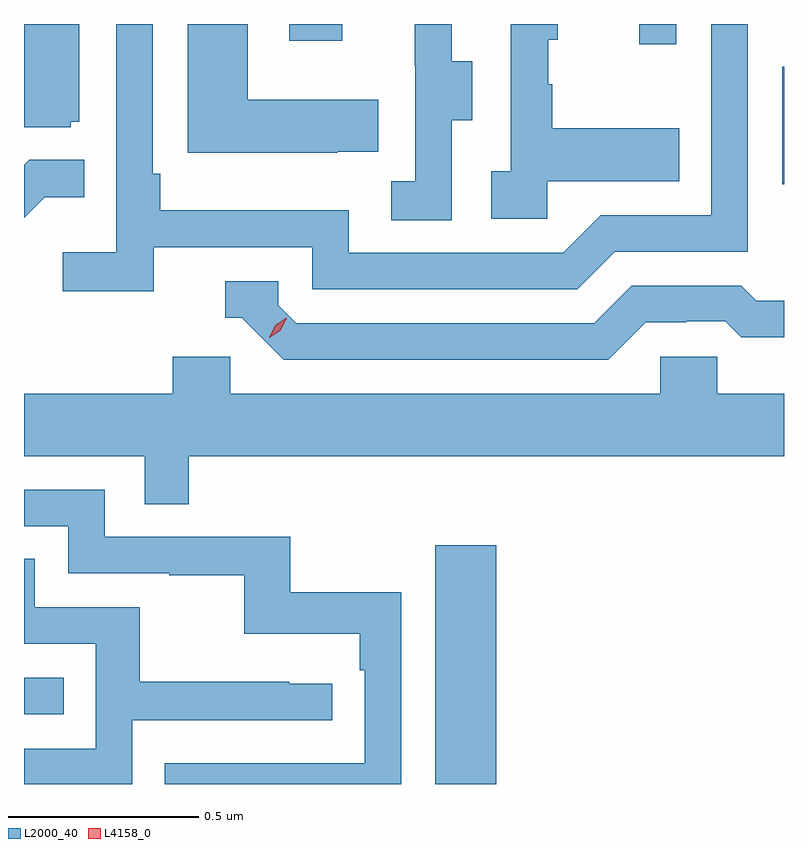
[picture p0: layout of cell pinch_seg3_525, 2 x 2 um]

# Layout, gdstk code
import gdstk
lib = gdstk.Library(unit=1e-6, precision=1e-09)
def R(c, l, rs):  # rectangles x0, y0, x1, y1
    for r in rs: c.add(gdstk.rectangle(r[:2], r[2:], *l))
def P(c, l, *ps):  # polygons
    for p in ps: c.add(gdstk.Polygon(p, *l))
L2000_40 = (2000, 40)
L4158_0 = (4158, 0)

pinch_seg3_525 = lib.new_cell('pinch_seg3_525')
R(pinch_seg3_525, L2000_40, [(959.423,676.077,959.584,676.705), (958.341,676.26,958.445,676.356), (960.336,677.655,960.341,677.964), (959.96,678.024,960.057,678.077), (959.039,678.033,959.179,678.077)])
P(pinch_seg3_525, L2000_40, [(959.718,677.663),(960.065,677.663),(960.065,677.803),(959.731,677.803),(959.731,677.918),(959.721,677.918),(959.721,678.036),(959.746,678.036),(959.746,678.077),(959.622,678.077),(959.622,677.69),(959.571,677.69),(959.571,677.565),(959.718,677.565)],
  [(959.165,677.741),(959.273,677.741),(959.273,677.878),(958.93,677.878),(958.93,678.077),(958.772,678.077),(958.772,677.738),(959.165,677.738)],
  [(958.464,677.82),(958.486,677.82),(958.486,678.077),(958.341,678.077),(958.341,677.805),(958.464,677.805)],
  [(958.682,677.49),(959.1,677.49),(959.1,677.379),(959.797,677.379),(959.896,677.478),(960.246,677.478),(960.246,678.077),(960.15,678.077),(960.15,677.574),(959.859,677.574),(959.76,677.475),(959.196,677.475),(959.196,677.587),(958.7,677.587),(958.7,677.683),(958.68,677.683),(958.68,678.077),(958.584,678.077),(958.584,677.476),(958.443,677.476),(958.443,677.374),(958.682,677.374)],
  [(959.466,677.824),(959.521,677.824),(959.521,677.979),(959.467,677.979),(959.467,678.077),(959.369,678.077),(959.369,677.967),(959.37,677.967),(959.37,677.663),(959.307,677.663),(959.307,677.56),(959.466,677.56)],
  [(958.395,677.621),(958.499,677.621),(958.499,677.72),(958.355,677.72),(958.341,677.706),(958.341,677.567)],
  [(959.977,677.292),(960.084,677.292),(960.084,677.295),(960.187,677.295),(960.229,677.253),(960.341,677.253),(960.341,677.349),(960.268,677.349),(960.229,677.388),(959.94,677.388),(959.841,677.289),(959.058,677.289),(959.01,677.337),(959.01,677.4),(958.871,677.4),(958.871,677.304),(958.914,677.304),(959.025,677.193),(959.878,677.193)],
  [(958.775,676.94),(960.341,676.94),(960.341,677.104),(960.165,677.104),(960.165,677.202),(960.015,677.202),(960.015,677.104),(958.884,677.104),(958.884,677.202),(958.733,677.202),(958.733,677.104),(958.341,677.104),(958.341,676.94),(958.659,676.94),(958.659,676.813),(958.775,676.813)],
  [(959.334,676.582),(959.041,676.582),(959.041,676.728),(958.554,676.728),(958.554,676.851),(958.341,676.851),(958.341,676.755),(958.458,676.755),(958.458,676.632),(958.723,676.632),(958.723,676.627),(958.92,676.627),(958.92,676.472),(959.225,676.472),(959.225,676.376),(959.238,676.376),(959.238,676.131),(958.925,676.131),(958.925,676.132),(958.711,676.132),(958.711,676.077),(959.334,676.077)],
  [(958.626,676.245),(959.152,676.245),(959.152,676.341),(959.039,676.341),(959.039,676.346),(958.646,676.346),(958.646,676.542),(958.369,676.542),(958.369,676.67),(958.341,676.67),(958.341,676.446),(958.53,676.446),(958.53,676.17),(958.341,676.17),(958.341,676.077),(958.626,676.077)])
P(pinch_seg3_525, L4158_0, [(958.986,677.251),(958.986,677.252),(959.002,677.284),(959.033,677.304),(959.033,677.304),(959.033,677.304),(959.017,677.271),(958.986,677.251)])

lib.write_gds('pinch_seg3_525.gds')
